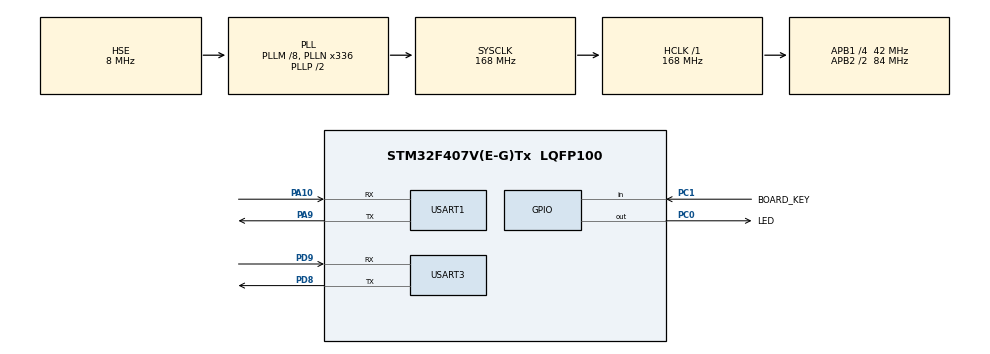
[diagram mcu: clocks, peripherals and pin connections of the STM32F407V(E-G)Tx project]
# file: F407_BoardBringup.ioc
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Mcu.Family=STM32F4
Mcu.Name=STM32F407V(E-G)Tx
Mcu.Package=LQFP100
NVIC.PriorityGroup=NVIC_PRIORITYGROUP_4
NVIC.USART1_IRQn=true\:5\:0\:false\:false\:true\:false\:true\:true
PA10.Mode=Asynchronous
PA10.Signal=USART1_RX
PA13.Mode=Serial_Wire
PA13.Signal=SYS_JTMS-SWDIO
PA14.Mode=Serial_Wire
PA14.Signal=SYS_JTCK-SWCLK
PA9.Mode=Asynchronous
PA9.Signal=USART1_TX
PC0.GPIO_Label=LED
PC0.PinState=GPIO_PIN_SET
PC0.Signal=GPIO_Output
PC1.GPIO_Label=BOARD_KEY
PC1.GPIO_PuPd=GPIO_PULLUP
PC1.Signal=GPIO_Input
PD8.Mode=Asynchronous
PD8.Signal=USART3_TX
PD9.Mode=Asynchronous
PD9.Signal=USART3_RX
PH0-OSC_IN.Mode=HSE-External-Oscillator
PH0-OSC_IN.Signal=RCC_OSC_IN
PH1-OSC_OUT.Mode=HSE-External-Oscillator
PH1-OSC_OUT.Signal=RCC_OSC_OUT
ProjectManager.HeapSize=0x200
ProjectManager.StackSize=0x400
ProjectManager.TargetToolchain=MDK-ARM V5.32
RCC.48MHZClocksFreq_Value=84000000
RCC.AHBFreq_Value=168000000
RCC.APB1CLKDivider=RCC_HCLK_DIV4
RCC.APB1Freq_Value=42000000
RCC.APB1TimFreq_Value=84000000
RCC.APB2CLKDivider=RCC_HCLK_DIV2
RCC.APB2Freq_Value=84000000
RCC.APB2TimFreq_Value=168000000
RCC.CortexFreq_Value=168000000
RCC.HCLKFreq_Value=168000000
RCC.HSE_VALUE=8000000
RCC.HSI_VALUE=16000000
RCC.LSE_VALUE=32768
RCC.PLLM=8
RCC.PLLN=336
RCC.PLLSourceVirtual=RCC_PLLSOURCE_HSE
RCC.SYSCLKFreq_VALUE=168000000
RCC.SYSCLKSource=RCC_SYSCLKSOURCE_PLLCLK
RCC.VCOOutputFreq_Value=336000000
USART1.VirtualMode=VM_ASYNC
USART3.VirtualMode=VM_ASYNC
board=custom

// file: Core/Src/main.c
/* USER CODE BEGIN Header */
/**
  ******************************************************************************
  * @file           : main.c
  * @brief          : Main program body
  ******************************************************************************
  * @attention
  *
  * Copyright (c) 2026 STMicroelectronics.
  * All rights reserved.
  *
  * This software is licensed under terms that can be found in the LICENSE file
  * in the root directory of this software component.
  * If no LICENSE file comes with this software, it is provided AS-IS.
  *
  ******************************************************************************
  */
/* USER CODE END Header */
#include "main.h"

/* USER CODE BEGIN Includes */
#include <stdio.h>
#include <string.h>
/* USER CODE END Includes */

/* USER CODE BEGIN PD */
#define UART1_RX_FIFO_SIZE 256U

/* USER CODE END PD */

UART_HandleTypeDef huart1;
UART_HandleTypeDef huart3;

/* USER CODE BEGIN PV */
static uint8_t uart1_rx_irq_byte;
static volatile uint8_t uart1_rx_fifo[UART1_RX_FIFO_SIZE];
static volatile uint16_t uart1_rx_head;
static volatile uint16_t uart1_rx_tail;
static volatile uint8_t uart1_rx_fault;

/* USER CODE END PV */

void SystemClock_Config(void);
static void MX_GPIO_Init(void);
static void MX_USART1_UART_Init(void);
static void MX_USART3_UART_Init(void);

/* USER CODE BEGIN 0 */
/* Send one USART HMI instruction followed by three binary FF bytes. */
static HAL_StatusTypeDef HMI_SendCmd(const char *cmd)
{
  static const uint8_t end[3] = {0xFF, 0xFF, 0xFF};
  size_t length = strlen(cmd);

  if ((length == 0U) || (length > 65535U))
  {
    return HAL_ERROR;
  }
  HAL_StatusTypeDef status = HAL_UART_Transmit(&huart3, (uint8_t *)cmd,
                                               (uint16_t)length, 100U);
  if (status != HAL_OK)
  {
    return status;
  }
  return HAL_UART_Transmit(&huart3, (uint8_t *)end, sizeof(end), 100U);
}

static HAL_StatusTypeDef HMI_SetCount(uint32_t count)
{
  char cmd[32];
  int length = snprintf(cmd, sizeof(cmd), "n0.val=%lu",
                        (unsigned long)count);
  if ((length <= 0) || (length >= (int)sizeof(cmd)))
  {
    return HAL_ERROR;
  }
  return HMI_SendCmd(cmd);
}

/* The interrupt stores bytes; only the main loop parses commands and writes UARTs. */
static uint8_t UART1_Dequeue(uint8_t *byte)
{
  uint16_t tail = uart1_rx_tail;
  if (tail == uart1_rx_head)
  {
    return 0U;
  }
  *byte = uart1_rx_fifo[tail];
  uart1_rx_tail = (uint16_t)((tail + 1U) % UART1_RX_FIFO_SIZE);
  return 1U;
}

void HAL_UART_RxCpltCallback(UART_HandleTypeDef *huart)
{
  if (huart->Instance == USART1)
  {
    uint16_t next = (uint16_t)((uart1_rx_head + 1U) % UART1_RX_FIFO_SIZE);
    if (next != uart1_rx_tail)
    {
      uart1_rx_fifo[uart1_rx_head] = uart1_rx_irq_byte;
      uart1_rx_head = next;
    }
    else
    {
      uart1_rx_fault = 1U;
    }
    if (HAL_UART_Receive_IT(huart, &uart1_rx_irq_byte, 1U) != HAL_OK)
    {
      uart1_rx_fault = 1U;
    }
  }
}

void HAL_UART_ErrorCallback(UART_HandleTypeDef *huart)
{
  if (huart->Instance == USART1)
  {
    uart1_rx_fault = 1U;
    if (huart->RxState == HAL_UART_STATE_READY)
    {
      __HAL_UART_CLEAR_OREFLAG(huart);
      (void)HAL_UART_Receive_IT(huart, &uart1_rx_irq_byte, 1U);
    }
  }
}
/* USER CODE END 0 */

int main(void)
{

  /* MCU Configuration--------------------------------------------------------*/

  /* Reset of all peripherals, Initializes the Flash interface and the Systick. */
  HAL_Init();

  /* Configure the system clock */
  SystemClock_Config();

  /* Initialize all configured peripherals */
  MX_GPIO_Init();
  MX_USART1_UART_Init();
  MX_USART3_UART_Init();
  /* USER CODE BEGIN 2 */
  uint32_t last_blink_ms = HAL_GetTick();
  uint32_t blink_count = 0;
  uint8_t rx_byte;
  char tx_buf[64];
  static const uint8_t boot_message[] = "F407 bringup ready\r\n";

  HAL_UART_Transmit(&huart1, (uint8_t *)boot_message,
                    sizeof(boot_message) - 1U, 100U);
  GPIO_PinState pc1_last_raw = HAL_GPIO_ReadPin(BOARD_KEY_GPIO_Port, BOARD_KEY_Pin);
  GPIO_PinState pc1_stable = pc1_last_raw;
  uint32_t pc1_changed_ms = HAL_GetTick();
  uint32_t pc1_count = 0;
  char pc1_msg[64];
  char hmi_console_cmd[96];
  uint8_t hmi_console_length = 0;
  uint8_t hmi_discard_until_newline = 0U;
  char rx_log[sizeof(hmi_console_cmd) + 8U];

  /* Give the independently powered screen time to enter its first page. */
  HAL_Delay(1000U);
  HAL_StatusTypeDef hmi_status = HMI_SendCmd("t0.txt=\"STM32 OK\"");
  if (hmi_status == HAL_OK)
  {
    hmi_status = HMI_SetCount(0U);
  }
  static const uint8_t hmi_ready[] =
      "HMI USART3 ready. Type an HMI command and press Enter.\r\n";
  HAL_UART_Transmit(&huart1, (uint8_t *)hmi_ready,
                    sizeof(hmi_ready) - 1U, 100U);
  if (hmi_status != HAL_OK)
  {
    static const uint8_t hmi_error[] = "HMI UART transmit error\r\n";
    HAL_UART_Transmit(&huart1, (uint8_t *)hmi_error,
                      sizeof(hmi_error) - 1U, 100U);
  }
  if (HAL_UART_Receive_IT(&huart1, &uart1_rx_irq_byte, 1U) != HAL_OK)
  {
    static const uint8_t rx_start_error[] = "USART1 receive start failed\r\n";
    HAL_UART_Transmit(&huart1, (uint8_t *)rx_start_error,
                      sizeof(rx_start_error) - 1U, 100U);
  }
  /* USER CODE END 2 */

  /* Infinite loop */
  while (1)
  {

    /* USER CODE BEGIN 3 */
    /* PC0 is the board LED: low level means on. */
    if ((HAL_GetTick() - last_blink_ms) >= 500U)
    {
      last_blink_ms = HAL_GetTick();
      HAL_GPIO_TogglePin(LED_GPIO_Port, LED_Pin);

      int length = snprintf(tx_buf, sizeof(tx_buf),
                            "LED toggle %lu\r\n", (unsigned long)++blink_count);
      if ((length > 0) && (length < (int)sizeof(tx_buf)))
      {
        HAL_UART_Transmit(&huart1, (uint8_t *)tx_buf,
                          (uint16_t)length, 100U);
      }
    }

    /* An RX error invalidates the current command; wait for a fresh line. */
    if (uart1_rx_fault != 0U)
    {
      __disable_irq();
      uart1_rx_tail = uart1_rx_head;
      uart1_rx_fault = 0U;
      __enable_irq();
      hmi_console_length = 0U;
      hmi_discard_until_newline = 1U;
      static const uint8_t rx_error[] = "RX overrun/error; command discarded\r\n";
      HAL_UART_Transmit(&huart1, (uint8_t *)rx_error,
                        sizeof(rx_error) - 1U, 100U);
    }

    /* PC -> USART1 -> MCU -> USART3 -> screen. Enter ends one command. */
    while (UART1_Dequeue(&rx_byte) != 0U)
    {
      if (hmi_discard_until_newline != 0U)
      {
        if ((rx_byte == '\r') || (rx_byte == '\n'))
        {
          hmi_discard_until_newline = 0U;
        }
        continue;
      }

      if ((rx_byte == '\r') || (rx_byte == '\n'))
      {
        if (hmi_console_length > 0U)
        {
          hmi_console_cmd[hmi_console_length] = '\0';
          int rx_length = snprintf(rx_log, sizeof(rx_log),
                                   "RX: %s\r\n", hmi_console_cmd);
          if ((rx_length > 0) && (rx_length < (int)sizeof(rx_log)))
          {
            HAL_UART_Transmit(&huart1, (uint8_t *)rx_log,
                              (uint16_t)rx_length, 100U);
          }
          HAL_StatusTypeDef status = HMI_SendCmd(hmi_console_cmd);
          static const uint8_t sent[] = "HMI command sent\r\n";
          static const uint8_t failed[] = "HMI UART transmit error\r\n";
          const uint8_t *message = (status == HAL_OK) ? sent : failed;
          uint16_t message_length = (status == HAL_OK)
                                  ? (uint16_t)(sizeof(sent) - 1U)
                                  : (uint16_t)(sizeof(failed) - 1U);
          HAL_UART_Transmit(&huart1, (uint8_t *)message,
                            message_length, 100U);
          hmi_console_length = 0U;
        }
      }
      else if (hmi_console_length < (sizeof(hmi_console_cmd) - 1U))
      {
        hmi_console_cmd[hmi_console_length++] = (char)rx_byte;
      }
      else
      {
        hmi_console_length = 0U;
        hmi_discard_until_newline = 1U;
        static const uint8_t too_long[] = "HMI command too long; discarded\r\n";
        HAL_UART_Transmit(&huart1, (uint8_t *)too_long,
                          sizeof(too_long) - 1U, 100U);
      }
    }

    /* Debounce PC1 and count one event per physical press. */
    GPIO_PinState raw = HAL_GPIO_ReadPin(BOARD_KEY_GPIO_Port, BOARD_KEY_Pin);
    uint32_t now = HAL_GetTick();

    if (raw != pc1_last_raw)
    {
      pc1_last_raw = raw;
      pc1_changed_ms = now;
    }

    if ((raw != pc1_stable) && ((now - pc1_changed_ms) >= 30U))
    {
      pc1_stable = raw;
      int length;

      if (raw == GPIO_PIN_RESET)
      {
        length = snprintf(pc1_msg, sizeof(pc1_msg),
                          "PC1 pressed: LOW, count=%lu\r\n",
                          (unsigned long)++pc1_count);
        if (HMI_SetCount(pc1_count) != HAL_OK)
        {
          static const uint8_t hmi_error[] = "HMI UART transmit error\r\n";
          HAL_UART_Transmit(&huart1, (uint8_t *)hmi_error,
                            sizeof(hmi_error) - 1U, 100U);
        }
      }
      else
      {
        length = snprintf(pc1_msg, sizeof(pc1_msg),
                          "PC1 released: HIGH\r\n");
      }

      if ((length > 0) && (length < (int)sizeof(pc1_msg)))
      {
        HAL_UART_Transmit(&huart1, (uint8_t *)pc1_msg,
                          (uint16_t)length, 100U);
      }
    }
  }
  /* USER CODE END 3 */
}

void SystemClock_Config(void)
{
  RCC_OscInitTypeDef RCC_OscInitStruct = {0};
  RCC_ClkInitTypeDef RCC_ClkInitStruct = {0};

  /** Configure the main internal regulator output voltage
  */
  __HAL_RCC_PWR_CLK_ENABLE();
  __HAL_PWR_VOLTAGESCALING_CONFIG(PWR_REGULATOR_VOLTAGE_SCALE1);

  /** Initializes the RCC Oscillators according to the specified parameters
  * in the RCC_OscInitTypeDef structure.
  */
  RCC_OscInitStruct.OscillatorType = RCC_OSCILLATORTYPE_HSE;
  RCC_OscInitStruct.HSEState = RCC_HSE_ON;
  RCC_OscInitStruct.PLL.PLLState = RCC_PLL_ON;
  RCC_OscInitStruct.PLL.PLLSource = RCC_PLLSOURCE_HSE;
  RCC_OscInitStruct.PLL.PLLM = 8;
  RCC_OscInitStruct.PLL.PLLN = 336;
  RCC_OscInitStruct.PLL.PLLP = RCC_PLLP_DIV2;
  RCC_OscInitStruct.PLL.PLLQ = 4;
  if (HAL_RCC_OscConfig(&RCC_OscInitStruct) != HAL_OK)
  {
    Error_Handler();
  }

  /** Initializes the CPU, AHB and APB buses clocks
  */
  RCC_ClkInitStruct.ClockType = RCC_CLOCKTYPE_HCLK|RCC_CLOCKTYPE_SYSCLK
                              |RCC_CLOCKTYPE_PCLK1|RCC_CLOCKTYPE_PCLK2;
  RCC_ClkInitStruct.SYSCLKSource = RCC_SYSCLKSOURCE_PLLCLK;
  RCC_ClkInitStruct.AHBCLKDivider = RCC_SYSCLK_DIV1;
  RCC_ClkInitStruct.APB1CLKDivider = RCC_HCLK_DIV4;
  RCC_ClkInitStruct.APB2CLKDivider = RCC_HCLK_DIV2;

  if (HAL_RCC_ClockConfig(&RCC_ClkInitStruct, FLASH_LATENCY_5) != HAL_OK)
  {
    Error_Handler();
  }
}

static void MX_USART1_UART_Init(void)
{

  huart1.Instance = USART1;
  huart1.Init.BaudRate = 115200;
  huart1.Init.WordLength = UART_WORDLENGTH_8B;
  huart1.Init.StopBits = UART_STOPBITS_1;
  huart1.Init.Parity = UART_PARITY_NONE;
  huart1.Init.Mode = UART_MODE_TX_RX;
  huart1.Init.HwFlowCtl = UART_HWCONTROL_NONE;
  huart1.Init.OverSampling = UART_OVERSAMPLING_16;
  if (HAL_UART_Init(&huart1) != HAL_OK)
  {
    Error_Handler();
  }

}

static void MX_USART3_UART_Init(void)
{

  huart3.Instance = USART3;
  huart3.Init.BaudRate = 115200;
  huart3.Init.WordLength = UART_WORDLENGTH_8B;
  huart3.Init.StopBits = UART_STOPBITS_1;
  huart3.Init.Parity = UART_PARITY_NONE;
  huart3.Init.Mode = UART_MODE_TX_RX;
  huart3.Init.HwFlowCtl = UART_HWCONTROL_NONE;
  huart3.Init.OverSampling = UART_OVERSAMPLING_16;
  if (HAL_UART_Init(&huart3) != HAL_OK)
  {
    Error_Handler();
  }

}

static void MX_GPIO_Init(void)
{
  GPIO_InitTypeDef GPIO_InitStruct = {0};

  /* GPIO Ports Clock Enable */
  __HAL_RCC_GPIOH_CLK_ENABLE();
  __HAL_RCC_GPIOC_CLK_ENABLE();
  __HAL_RCC_GPIOD_CLK_ENABLE();
  __HAL_RCC_GPIOA_CLK_ENABLE();

  /*Configure GPIO pin Output Level */
  HAL_GPIO_WritePin(LED_GPIO_Port, LED_Pin, GPIO_PIN_SET);

  /*Configure GPIO pin : LED_Pin */
  GPIO_InitStruct.Pin = LED_Pin;
  GPIO_InitStruct.Mode = GPIO_MODE_OUTPUT_PP;
  GPIO_InitStruct.Pull = GPIO_NOPULL;
  GPIO_InitStruct.Speed = GPIO_SPEED_FREQ_LOW;
  HAL_GPIO_Init(LED_GPIO_Port, &GPIO_InitStruct);

  /*Configure GPIO pin : BOARD_KEY_Pin */
  GPIO_InitStruct.Pin = BOARD_KEY_Pin;
  GPIO_InitStruct.Mode = GPIO_MODE_INPUT;
  GPIO_InitStruct.Pull = GPIO_PULLUP;
  HAL_GPIO_Init(BOARD_KEY_GPIO_Port, &GPIO_InitStruct);

}

void Error_Handler(void)
{
  __disable_irq();
  while (1)
  {
  }
}
